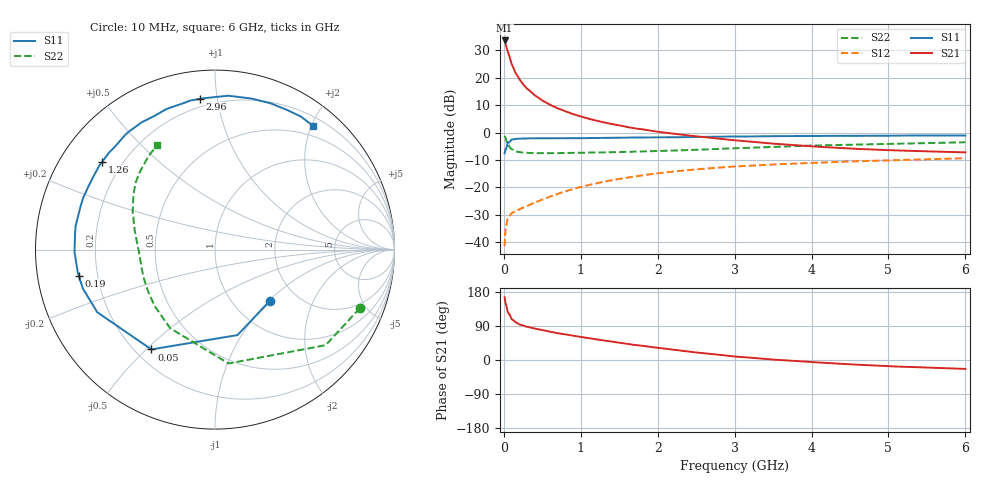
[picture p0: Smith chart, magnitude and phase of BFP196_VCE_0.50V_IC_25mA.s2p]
! Infineon Technologies  Discrete & RF Semiconductors
! BFP196
! VCE = 0.50V,  IC =  25mA
! Common Emitter S-Parameters:  Jan 2016
# GHz  S  MA  R  50
!  f  S11  S21  S12  S22
! GHz  MAG  ANG  MAG  ANG  MAG  ANG  MAG  ANG
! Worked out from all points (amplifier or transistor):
!   210 points, 10 MHz to 6 GHz, reference 50 ohm
!   highest |S21| = 33.5 dB at 10 MHz (marker M1)
!   |S21| within 3 dB of that: start of sweep to 40 MHz
!   unconditionally stable (mu >= 1): 514 MHz to end of sweep
!   at 185 MHz: K = 0.57, MSG = 24.2 dB, |S12| = -28.2 dB
!   at 1.52 GHz: K = 1.14, MAG = 7.4 dB, |S12| = -16.8 dB
!   at 6 GHz: K = 1.04, MAG = -0.2 dB, |S12| = -9.4 dB
!   S11 on the Smith chart (normalised r, x): 10 MHz: 1.45, -1.02; 50 MHz: 0.26, -0.52; 190 MHz: 0.13, -0.09; 1.26 GHz: 0.13, +0.34; 2.96 GHz: 0.15, +0.89; 6 GHz: 0.33, +2.02
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0.01  0.4193 -43.4  47.56 165.6  0.0085 75.6  0.8706 -22.0
0.02  0.4925 -75.3  43.18 151.8  0.0159 66.1  0.8149 -40.8
0.05  0.6594 -122.5  30.12 126.6  0.0276 45.0  0.639 -83.2
0.1  0.7431 -152.0  17.84 108.2  0.0336 35.2  0.5043 -119.7
0.15  0.7677 -163.7  12.37 99.7  0.037 34.4  0.4601 -137.0
0.19  0.7728 -169.2  10.02 95.6  0.0393 36.3  0.4431 -145.3
0.2  0.7752 -170.6  9.439 94.2  0.0399 36.7  0.4403 -147.4
0.24  0.7768 -174.8  7.914 91.4  0.0421 38.7  0.4326 -153.1
0.26  0.7787 -176.5  7.293 90.0  0.0432 39.8  0.4302 -155.4
0.3  0.7829 -179.1  6.324 87.7  0.0457 41.9  0.4266 -158.8
0.4  0.7842 174.5  4.787 82.9  0.0528 45.8  0.4218 -165.1
0.5  0.7876 170.5  3.832 79.0  0.06 48.6  0.4203 -169.4
0.6  0.7857 165.8  3.205 74.7  0.0681 50.3  0.4196 -172.4
0.8  0.7892 158.2  2.425 67.5  0.0847 51.9  0.4225 -176.8
1.02  0.7897 150.0  1.922 60.3  0.1035 51.9  0.4277 179.4
1.26  0.7964 142.0  1.576 52.7  0.1234 50.3  0.4335 175.9
2.02  0.818 119.7  1.023 31.7  0.182 41.1  0.4616 166.0
2.96  0.8442 95.7  0.732 10.2  0.2384 27.7  0.5132 153.1
3.1  0.8464 92.8  0.703 7.8  0.2445 25.6  0.5212 151.2
4.1  0.8659 74.9  0.549 -6.7  0.2827 13.1  0.5832 138.6
5.1  0.8764 61.5  0.472 -17.2  0.3138 2.2  0.6255 128.2
6  0.8792 51.6  0.435 -23.5  0.3401 -7.6  0.6639 119.1
